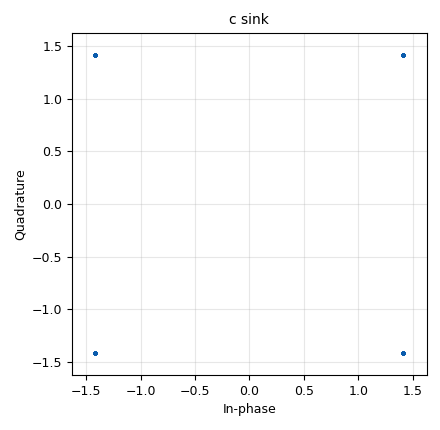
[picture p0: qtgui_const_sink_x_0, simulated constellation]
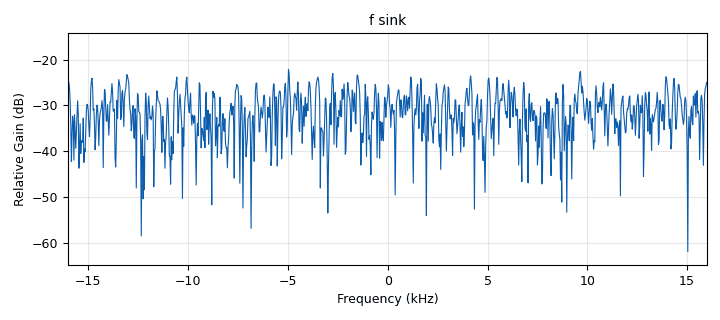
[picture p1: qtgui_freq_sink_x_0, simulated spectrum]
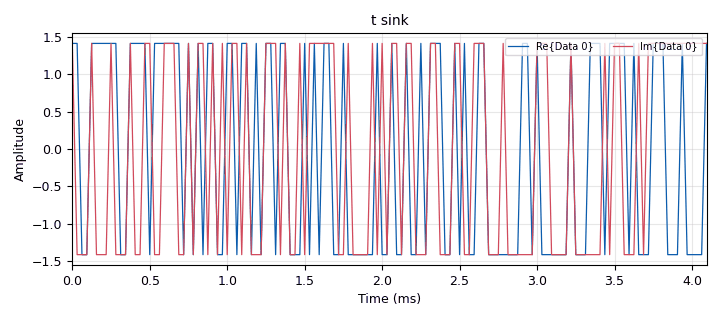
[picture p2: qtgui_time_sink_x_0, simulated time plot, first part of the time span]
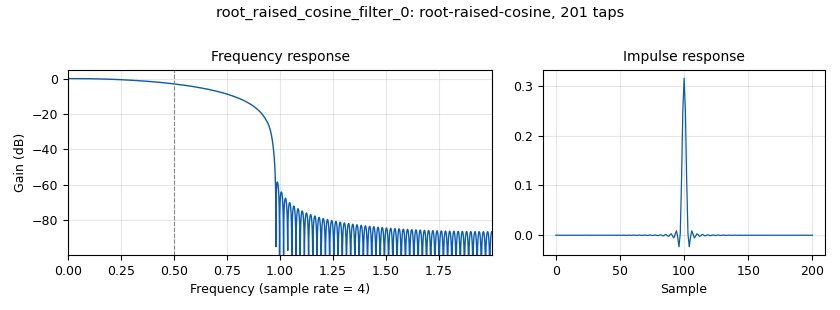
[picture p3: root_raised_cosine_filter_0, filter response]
options:
  parameters:
    author: mzemlo.pl@gmail.com
    copyright: mzemlo.pl@gmail.com
    generate_options: qt_gui
    id: qpsk_w_mod_01
    output_language: python
    title: QPSK with modulation 01
  states: {}

blocks:
- name: datarate
  id: variable
  parameters:
    value: '16000'
  states: {}
- name: samp_rate
  id: variable
  parameters:
    value: '32000'
  states: {}
- name: var_const_0
  id: variable_constellation
  parameters:
    precision: '8'
    type: qpsk
  states: {}
- name: analog_random_source_x_0
  id: analog_random_source_x
  parameters:
    alias: '"rand src"'
    max: '256'
    min: '0'
    num_samps: '1000'
    repeat: 'True'
    type: byte
  states: {}
- name: blocks_throttle2_0
  id: blocks_throttle2
  parameters:
    samples_per_second: samp_rate
    type: complex
  states: {}
- name: digital_constellation_modulator_0
  id: digital_constellation_modulator
  parameters:
    constellation: var_const_0
    differential: 'False'
    excess_bw: '0.95'
    samples_per_symbol: '4'
  states: {}
- name: qtgui_const_sink_x_0
  id: qtgui_const_sink_x
  parameters:
    autoscale: 'True'
    name: '"c sink"'
    size: '1024'
    type: complex
  states: {}
- name: qtgui_freq_sink_x_0
  id: qtgui_freq_sink_x
  parameters:
    autoscale: 'True'
    bw: samp_rate
    fc: '0'
    fftsize: '1024'
    name: '"f sink"'
    type: complex
  states: {}
- name: qtgui_time_sink_x_0
  id: qtgui_time_sink_x
  parameters:
    autoscale: 'True'
    name: '"t sink"'
    size: '1024'
    srate: samp_rate
    type: complex
  states: {}
- name: root_raised_cosine_filter_0
  id: root_raised_cosine_filter
  parameters:
    alpha: '0.95'
    decim: '4'
    gain: '1'
    ntaps: '200'
    samp_rate: '4'
    sym_rate: '1.0'
    type: fir_filter_ccf
  states: {}

connections:
- [analog_random_source_x_0, '0', digital_constellation_modulator_0, '0']
- [blocks_throttle2_0, '0', qtgui_const_sink_x_0, '0']
- [blocks_throttle2_0, '0', qtgui_freq_sink_x_0, '0']
- [blocks_throttle2_0, '0', qtgui_time_sink_x_0, '0']
- [digital_constellation_modulator_0, '0', root_raised_cosine_filter_0, '0']
- [root_raised_cosine_filter_0, '0', blocks_throttle2_0, '0']

metadata:
  file_format: 1
  grc_version: 3.10.9.2
